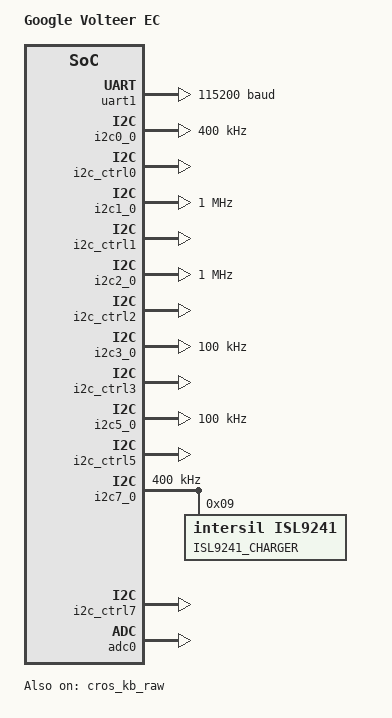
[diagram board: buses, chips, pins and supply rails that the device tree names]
/*
 * Copyright (c) 2020 The Chromium OS Authors
 *
 * SPDX-License-Identifier: Apache-2.0
 */

/dts-v1/;

#include <cros/nuvoton/npcx7.dtsi>
#include <dt-bindings/adc/adc.h>
#include <dt-bindings/charger/intersil_isl9241.h>
#include <dt-bindings/gpio_defines.h>
#include <nuvoton/npcx7m7fc.dtsi>

/ {
	model = "Google Volteer EC";

	aliases {
		i2c-0 = &i2c0_0;
		i2c-1 = &i2c1_0;
		i2c-2 = &i2c2_0;
		i2c-3 = &i2c3_0;
		i2c-5 = &i2c5_0;
		i2c-7 = &i2c7_0;
	};

	chosen {
		zephyr,sram = &sram0;
		zephyr,console = &uart1;
		zephyr,shell-uart = &uart1;
		zephyr,flash = &flash0;
		cros,rtc = &mtc;
	};

	ec-console {
		compatible = "ec-console";

		disabled = "hostcmd";
	};

	named-batteries {
		compatible = "named-batteries";

		lgc011 {
			enum-name = "lgc011";
		};
	};

	named-i2c-ports {
		compatible = "named-i2c-ports";

		i2c_sensor: sensor {
			i2c-port = <&i2c0_0>;
			enum-name = "I2C_PORT_SENSOR";
			label = "SENSOR";
		};
		i2c-accel {
			i2c-port = <&i2c0_0>;
			enum-name = "I2C_PORT_ACCEL";
			label = "ACCEL";
		};
		usb-c0 {
			i2c-port = <&i2c1_0>;
			enum-name = "I2C_PORT_USB_C0";
			label = "USB_C0";
		};
		usb-c1 {
			i2c-port = <&i2c2_0>;
			enum-name = "I2C_PORT_USB_C1";
			label = "USB_C1";
		};
		usb1-mix {
			i2c-port = <&i2c3_0>;
			enum-name = "I2C_PORT_USB_1_MIX";
			label = "USB_1_MIX";
		};
		power {
			i2c-port = <&i2c5_0>;
			enum-name = "I2C_PORT_POWER";
			label = "POWER";
		};
		battery {
			i2c-port = <&i2c5_0>;
			enum-name = "I2C_PORT_BATTERY";
			label = "BATTERY";
		};
		eeprom {
			i2c-port = <&i2c7_0>;
			remote-port = <7>;
			enum-name = "I2C_PORT_EEPROM";
			label = "EEPROM";
		};
		charger {
			i2c-port = <&i2c7_0>;
			enum-name = "I2C_PORT_CHARGER";
			label = "CHARGER";
		};
	};

	named-adc-channels {
		compatible = "named-adc-channels";

		adc_charger: charger {
			label = "ADC_TEMP_SENSOR_CHARGER";
			enum-name = "ADC_TEMP_SENSOR_CHARGER";
			channel = <0>;
		};
		adc_pp3300_regulator: pp3300_regulator {
			label = "ADC_TEMP_SENSOR_PP3300_REGULATOR";
			enum-name = "ADC_TEMP_SENSOR_PP3300_REGULATOR";
			channel = <1>;
		};
		adc_ddr_soc: ddr_soc {
			label = "ADC_TEMP_SENSOR_DDR_SOC";
			enum-name = "ADC_TEMP_SENSOR_DDR_SOC";
			channel = <8>;
		};
		adc_fan: fan {
			label = "ADC_TEMP_SENSOR_FAN";
			enum-name = "ADC_TEMP_SENSOR_FAN";
			channel = <3>;
		};
	};

	named-temp-sensors {
		charger {
			compatible = "temp-3v3-30k9-47k-4050b";
			label = "TEMP_SENSOR_CHARGER";
			enum-name = "TEMP_SENSOR_CHARGER";
			temp_fan_off = <40>;
			temp_fan_max = <55>;
			temp_host_high = <75>;
			temp_host_halt = <80>;
			temp_host_release_high = <65>;
			adc = <&adc_charger>;
		};
		pp3300_regulator {
			compatible = "temp-3v3-30k9-47k-4050b";
			label = "TEMP_SENSOR_PP3300_REGULATOR";
			enum-name = "TEMP_SENSOR_PP3300_REGULATOR";
			temp_fan_off = <40>;
			temp_fan_max = <55>;
			temp_host_high = <75>;
			temp_host_halt = <80>;
			temp_host_release_high = <65>;
			adc = <&adc_pp3300_regulator>;
		};
		ddr_soc {
			compatible = "temp-3v3-30k9-47k-4050b";
			label = "TEMP_SENSOR_DDR_SOC";
			enum-name = "TEMP_SENSOR_DDR_SOC";
			temp_fan_off = <35>;
			temp_fan_max = <50>;
			temp_host_high = <70>;
			temp_host_halt = <80>;
			temp_host_release_high = <65>;
			adc = <&adc_ddr_soc>;
		};
		fan {
			compatible = "temp-3v3-30k9-47k-4050b";
			label = "TEMP_SENSOR_FAN";
			enum-name = "TEMP_SENSOR_FAN";
			temp_fan_off = <35>;
			temp_fan_max = <50>;
			temp_host_high = <70>;
			temp_host_halt = <80>;
			temp_host_release_high = <65>;
			adc = <&adc_fan>;
		};
	};

	vsby-psl-in-list {
		/* Use PSL_IN1/2/3/4 as detection pins from hibernate mode */
		psl-in-pads = <&psl_in1 &psl_in2 &psl_in3 &psl_in4>;
	};

	/*
	 * The CBI Second Source Factory Cache (SSFC) layout definition.
	 * Specific fields values are defined per board.
	 */
	cbi-ssfc {
		compatible = "named-cbi-ssfc";

		cbi_ssfc_base_sensor: base_sensor {
			enum-name = "BASE_SENSOR";
			size = <3>;
		};
		cbi_ssfc_lid_sensor: lid_sensor {
			enum-name = "LID_SENSOR";
			size = <3>;
		};
		cbi_ssfc_lightbar: lightbar {
			enum-name = "LIGHTBAR";
			size = <2>;
		};
	};
};

&uart1 {
	status = "okay";
	current-speed = <115200>;
	pinctrl-0 = <&altc_uart1_sl2>; /* Use UART1_SL2 ie. PIN64.65 */
};

&i2c0_0 {
	status = "okay";
	clock-frequency = <I2C_BITRATE_FAST>;
};

&i2c_ctrl0 {
	status = "okay";
};

&i2c1_0 {
	status = "okay";
	clock-frequency = <I2C_BITRATE_FAST_PLUS>;
};

&i2c_ctrl1 {
	status = "okay";
};

&i2c2_0 {
	status = "okay";
	clock-frequency = <I2C_BITRATE_FAST_PLUS>;
};

&i2c_ctrl2 {
	status = "okay";
};

&i2c3_0 {
	status = "okay";
	clock-frequency = <I2C_BITRATE_STANDARD>;
};

&i2c_ctrl3 {
	status = "okay";
};

&i2c5_0 {
	status = "okay";
	clock-frequency = <I2C_BITRATE_STANDARD>;
};

&i2c_ctrl5 {
	status = "okay";
};

&i2c7_0 {
	status = "okay";
	clock-frequency = <I2C_BITRATE_FAST>;

	isl9241: isl9241@9 {
		compatible = "intersil,isl9241";
		reg = <0x09>;
		label = "ISL9241_CHARGER";
		switching-frequency = <SWITCHING_FREQ_724KHZ>;
	};
};

&i2c_ctrl7 {
	status = "okay";
};

&cros_kb_raw {
	status = "okay";
	/* No KSO2 (it's inverted and implemented by GPIO) */
	pinctrl-0 = <&alt7_no_ksi0_sl
		     &alt7_no_ksi1_sl
		     &alt7_no_ksi2_sl
		     &alt7_no_ksi3_sl
		     &alt7_no_ksi4_sl
		     &alt7_no_ksi5_sl
		     &alt7_no_ksi6_sl
		     &alt7_no_ksi7_sl
		     &alt8_no_kso00_sl
		     &alt8_no_kso01_sl
		     &alt8_no_kso03_sl
		     &alt8_no_kso04_sl
		     &alt8_no_kso05_sl
		     &alt8_no_kso06_sl
		     &alt8_no_kso07_sl
		     &alt9_no_kso08_sl
		     &alt9_no_kso09_sl
		     &alt9_no_kso10_sl
		     &alt9_no_kso11_sl
		     &alt9_no_kso12_sl
		     &alt9_no_kso13_sl
		     &alt9_no_kso14_sl
		     >;
};

&adc0 {
	status = "okay";
};

/* Power switch logic input pads */
&psl_in1 {
	flag = <NPCX_PSL_RISING_EDGE>;
};

&psl_in2 {
	flag = <NPCX_PSL_RISING_EDGE>;
};

&psl_in3 {
	flag = <NPCX_PSL_FALLING_EDGE>;
};

&psl_in4 {
	flag = <NPCX_PSL_RISING_EDGE>;
};
